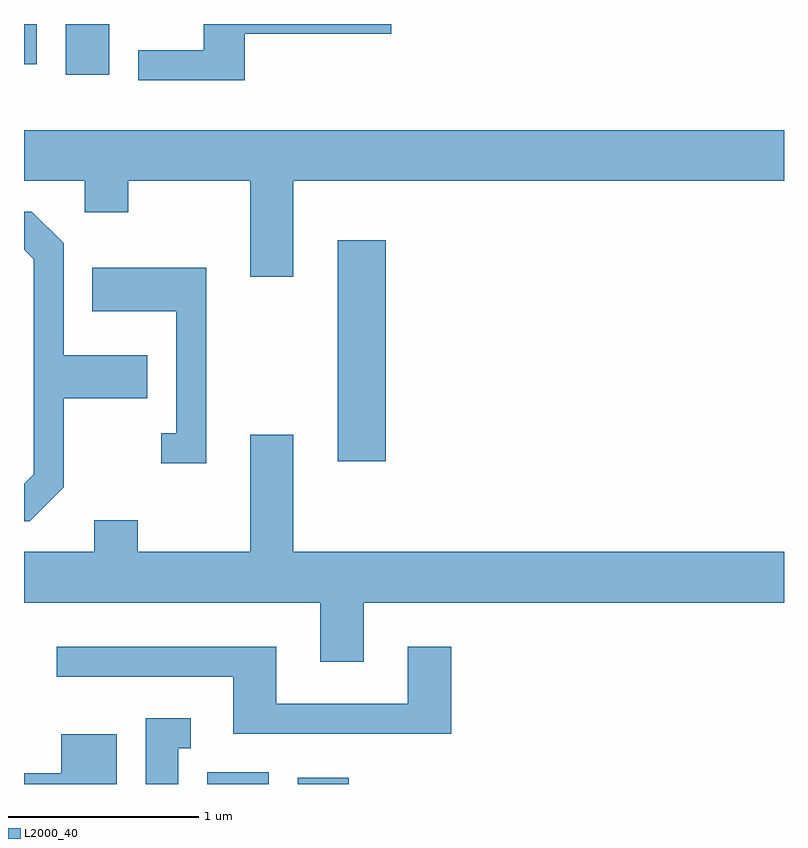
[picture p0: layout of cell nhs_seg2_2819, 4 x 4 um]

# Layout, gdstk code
import gdstk
lib = gdstk.Library(unit=1e-6, precision=1e-09)
def R(c, l, rs):  # rectangles x0, y0, x1, y1
    for r in rs: c.add(gdstk.rectangle(r[:2], r[2:], *l))
def P(c, l, *ps):  # polygons
    for p in ps: c.add(gdstk.Polygon(p, *l))
L2000_40 = (2000, 40)

nhs_seg2_2819 = lib.new_cell('nhs_seg2_2819')
R(nhs_seg2_2819, L2000_40, [(268.576,1051.802,268.899,1051.864), (269.051,1051.802,269.319,1051.834), (269.261,1053.501,269.514,1054.664), (267.831,1055.536,268.059,1055.802), (267.611,1055.591,267.679,1055.802)])
P(nhs_seg2_2819, L2000_40, [(268.774,1055.751),(269.544,1055.751),(269.544,1055.802),(268.556,1055.802),(268.556,1055.664),(268.213,1055.664),(268.213,1055.506),(268.774,1055.506)],
  [(269.029,1054.976),(271.611,1054.976),(271.611,1055.244),(267.611,1055.244),(267.611,1054.976),(267.931,1054.976),(267.931,1054.811),(268.159,1054.811),(268.159,1054.976),(268.801,1054.976),(268.801,1054.471),(269.029,1054.471)],
  [(267.819,1053.364),(267.819,1053.831),(268.259,1053.831),(268.259,1054.059),(267.819,1054.059),(267.819,1054.647),(267.652,1054.814),(267.611,1054.814),(267.611,1054.614),(267.661,1054.564),(267.661,1053.432),(267.611,1053.381),(267.611,1053.186),(267.642,1053.186)],
  [(268.569,1054.519),(267.971,1054.519),(267.971,1054.291),(268.411,1054.291),(268.411,1053.649),(268.333,1053.649),(268.333,1053.491),(268.569,1053.491)],
  [(269.399,1052.756),(271.611,1052.756),(271.611,1053.024),(269.029,1053.024),(269.029,1053.639),(268.801,1053.639),(268.801,1053.024),(268.209,1053.024),(268.209,1053.189),(267.981,1053.189),(267.981,1053.024),(267.611,1053.024),(267.611,1052.756),(269.171,1052.756),(269.171,1052.446),(269.399,1052.446)],
  [(269.859,1052.524),(269.631,1052.524),(269.631,1052.224),(268.939,1052.224),(268.939,1052.524),(267.783,1052.524),(267.783,1052.366),(268.711,1052.366),(268.711,1052.066),(269.859,1052.066)],
  [(268.424,1051.991),(268.488,1051.991),(268.488,1052.149),(268.251,1052.149),(268.251,1051.802),(268.424,1051.802)],
  [(268.099,1052.064),(267.806,1052.064),(267.806,1051.859),(267.611,1051.859),(267.611,1051.802),(268.099,1051.802)])

lib.write_gds('nhs_seg2_2819.gds')
